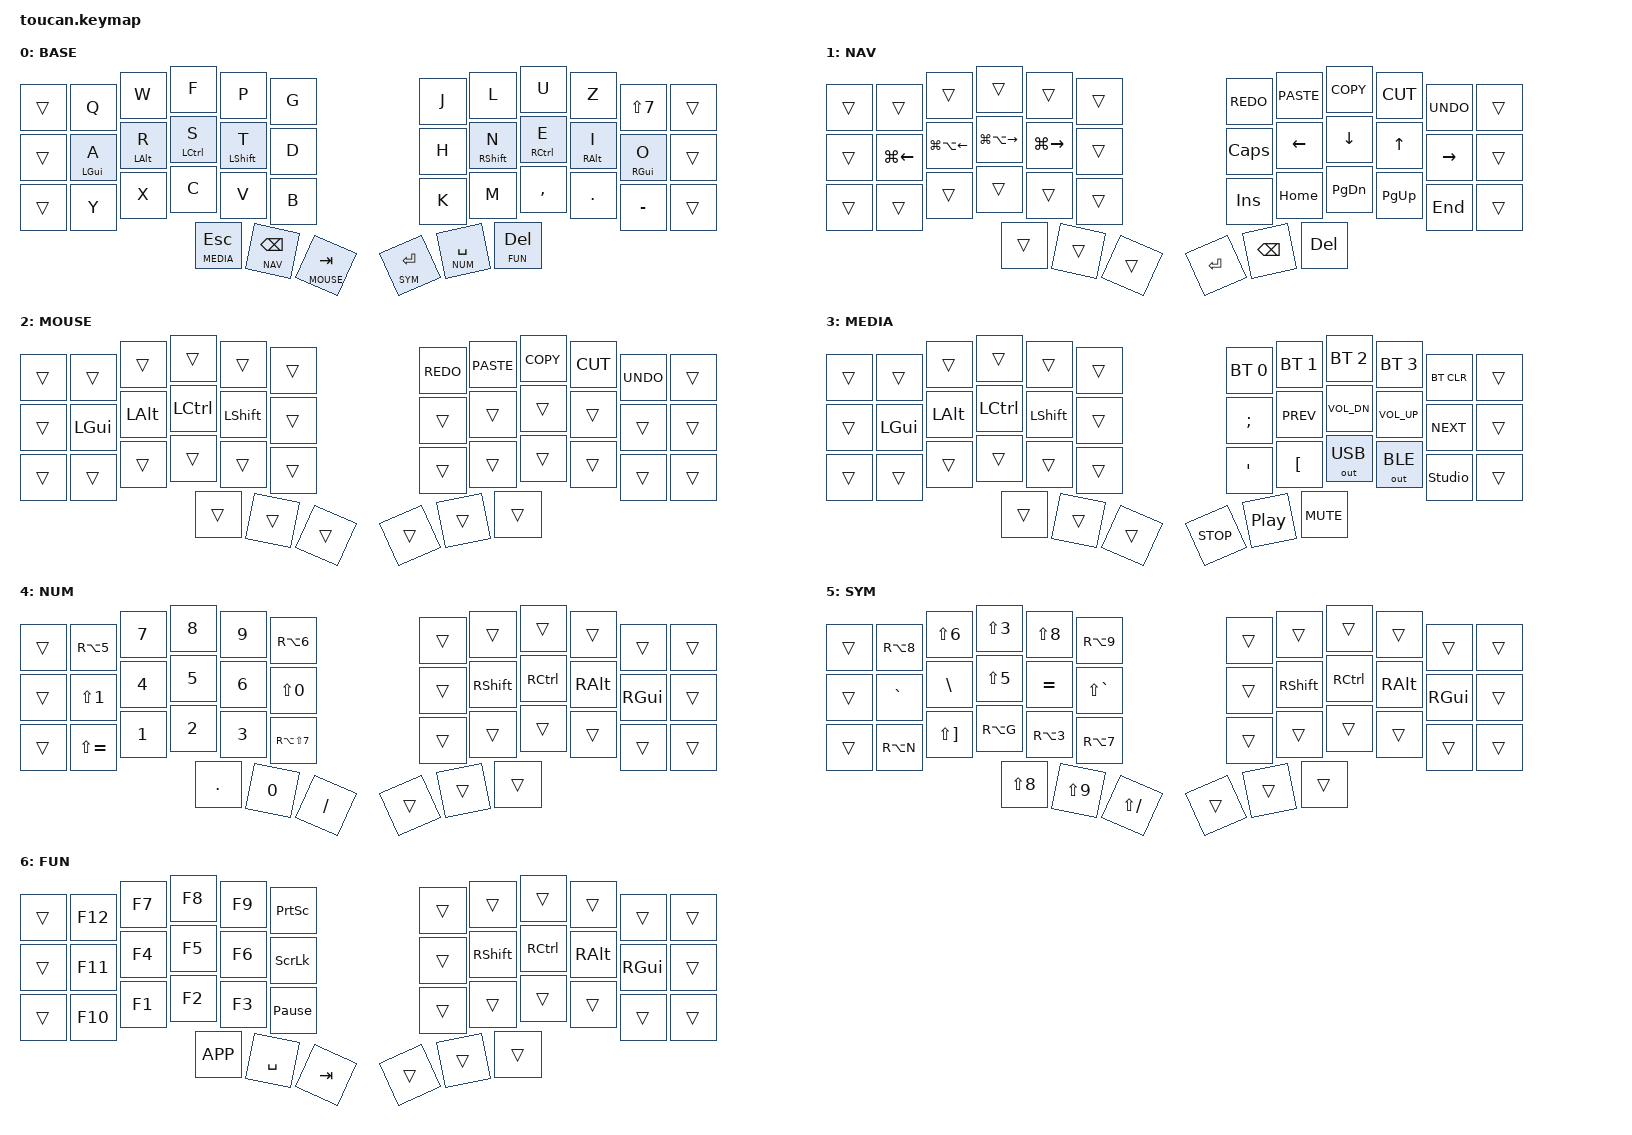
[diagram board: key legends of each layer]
#include <behaviors.dtsi>
#include <dt-bindings/zmk/keys.h>
#include <dt-bindings/zmk/bt.h>
#include <dt-bindings/zmk/outputs.h>
#include <dt-bindings/zmk/mouse.h>

#define BASE  0
#define NAV   1
#define MOUSE 2
#define MEDIA 3
#define NUM   4
#define SYM   5
#define FUN   6

/ {
    behaviors {
        // Home row mods (Miryoku style)
        hml: homerow_mods_left {
            compatible = "zmk,behavior-hold-tap";
            #binding-cells = <2>;
            flavor = "balanced";
            tapping-term-ms = <280>;
            quick-tap-ms = <175>;
            require-prior-idle-ms = <150>;
            bindings = <&kp>, <&kp>;
            hold-trigger-key-positions = <6 7 8 9 10 11 18 19 20 21 22 23 30 31 32 33 34 35 36 37 38 39 40 41>;
            hold-trigger-on-release;
        };

        hmr: homerow_mods_right {
            compatible = "zmk,behavior-hold-tap";
            #binding-cells = <2>;
            flavor = "balanced";
            tapping-term-ms = <280>;
            quick-tap-ms = <175>;
            require-prior-idle-ms = <150>;
            bindings = <&kp>, <&kp>;
            hold-trigger-key-positions = <0 1 2 3 4 5 12 13 14 15 16 17 24 25 26 27 28 29 36 37 38 39 40 41>;
            hold-trigger-on-release;
        };
    };

    keymap {
        compatible = "zmk,keymap";

        base {
            display-name = "BASE";
            bindings = <
                &trans    &kp Q       &kp W       &kp F        &kp P        &kp G            &kp J        &kp L        &kp U        &kp Z       &kp LS(N7)    &trans
                &trans    &hml LGUI A &hml LALT R &hml LCTRL S &hml LSHFT T &kp D            &kp H        &hmr RSHFT N &hmr RCTRL E &hmr RALT I &hmr RGUI O &trans
                &trans    &kp Y       &kp X       &kp C        &kp V        &kp B            &kp K        &kp M        &kp COMMA    &kp DOT     &kp MINUS   &trans
                                                  &lt MEDIA ESC &lt NAV BSPC &lt MOUSE TAB   &lt SYM RET &lt NUM SPACE &lt FUN DEL
            >;
        };

        nav {
            display-name = "NAV";
            bindings = <
                &trans &trans    &trans    &trans     &trans     &trans       &kp K_REDO &kp K_PASTE &kp K_COPY &kp K_CUT  &kp K_UNDO &trans
                &trans &kp LG(LEFT)  &kp LG(LA(LEFT))  &kp LG(LA(RIGHT))  &kp LG(RIGHT)  &trans       &kp CAPS   &kp LEFT    &kp DOWN   &kp UP     &kp RIGHT  &trans
                &trans &trans    &trans    &trans     &trans     &trans       &kp INS    &kp HOME    &kp PG_DN  &kp PG_UP  &kp END    &trans
                                           &trans     &trans     &trans       &kp RET    &kp BSPC    &kp DEL
            >;
        };

        mouse {
            display-name = "MOUSE";
            bindings = <
                &trans &trans    &trans    &trans     &trans     &trans       &kp K_REDO  &kp K_PASTE  &kp K_COPY   &kp K_CUT    &kp K_UNDO &trans
                &trans &kp LGUI  &kp LALT  &kp LCTRL  &kp LSHFT  &trans       &trans      &trans       &trans       &trans       &trans     &trans
                &trans &trans    &trans    &trans     &trans     &trans       &trans      &trans       &trans       &trans       &trans     &trans
                                           &trans     &trans     &trans       &trans      &trans       &trans
            >;
        };

        media {
            display-name = "MEDIA";
            bindings = <
                &trans &trans       &trans       &trans        &trans        &trans          &bt BT_SEL 0  &bt BT_SEL 1  &bt BT_SEL 2  &bt BT_SEL 3  &bt BT_CLR     &trans
                &trans &kp LGUI     &kp LALT     &kp LCTRL     &kp LSHFT     &trans          &kp SEMI      &kp C_PREV    &kp C_VOL_DN  &kp C_VOL_UP  &kp C_NEXT     &trans
                &trans &trans       &trans       &trans        &trans        &trans          &kp APOS      &kp LBKT      &out OUT_USB  &out OUT_BLE  &studio_unlock &trans
                                                 &trans        &trans        &trans          &kp C_STOP    &kp C_PP      &kp C_MUTE
            >;
        };

        num {
            display-name = "NUM";
            bindings = <
                &trans &kp RA(N5)    &kp N7    &kp N8    &kp N9    &kp RA(N6)      &trans    &trans     &trans     &trans    &trans    &trans
                &trans &kp LS(N1)      &kp N4    &kp N5    &kp N6    &kp LS(N0)        &trans    &kp RSHFT  &kp RCTRL  &kp RALT  &kp RGUI  &trans
                &trans &kp LS(EQUAL) &kp N1    &kp N2    &kp N3    &kp RA(LS(N7))    &trans    &trans     &trans     &trans    &trans    &trans
                                           &kp DOT   &kp N0    &kp FSLH        &trans    &trans     &trans
            >;
        };

        sym {
            display-name = "SYM";
            bindings = <
                &trans &kp RA(N8)   &kp LS(N6) &kp LS(N3)   &kp LS(N8) &kp RA(N9)      &trans    &trans     &trans     &trans    &trans    &trans
                &trans &kp GRAVE    &kp BSLH   &kp LS(N5)   &kp EQUAL  &kp LS(GRAVE)   &trans    &kp RSHFT  &kp RCTRL  &kp RALT  &kp RGUI  &trans
                &trans &kp RA(N)    &kp LS(RBKT) &kp RA(G)  &kp RA(N3) &kp RA(N7)      &trans    &trans     &trans     &trans    &trans    &trans
                                           &kp LS(N8) &kp LS(N9) &kp LS(FSLH)            &trans    &trans     &trans
            >;
        };

        fun {
            display-name = "FUN";
            bindings = <
                &trans &kp F12   &kp F7    &kp F8    &kp F9    &kp PSCRN       &trans    &trans     &trans     &trans    &trans    &trans
                &trans &kp F11   &kp F4    &kp F5    &kp F6    &kp SLCK        &trans    &kp RSHFT  &kp RCTRL  &kp RALT  &kp RGUI  &trans
                &trans &kp F10   &kp F1    &kp F2    &kp F3    &kp PAUSE_BREAK &trans    &trans     &trans     &trans    &trans    &trans
                                           &kp K_APP &kp SPACE &kp TAB         &trans    &trans     &trans
            >;
        };
    };
};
